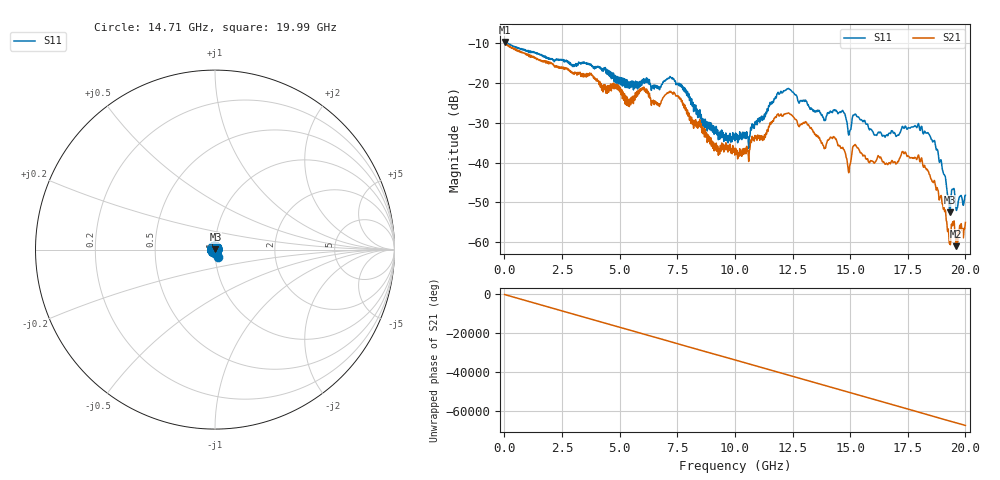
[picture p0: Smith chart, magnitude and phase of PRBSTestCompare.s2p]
! File created by SignalIntegrity v1.4.3: Signal and Power Integrity Tools
! https://github.com/Nubis-Communications/SignalIntegrity
# MHz S MA R 50.0
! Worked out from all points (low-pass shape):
!   2000 points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, 10 MHz to 20 GHz, reference 50 ohm
!   highest |S21| = -9.68 dB at 10 MHz (marker M1); lowest = -61.0 dB at 19.6 GHz (marker M2)
!   |S21| within 3 dB of the highest: start of sweep to 930.8 MHz
!   lowest |S11| = -52.5 dB at 19.32 GHz (marker M3), VSWR 1.00, Z = 50.2 + j0.104 ohm
!   |S11| at or under -10 dB: 145 MHz to end of sweep
!   S12 and S22 are empty: the file has one direction only
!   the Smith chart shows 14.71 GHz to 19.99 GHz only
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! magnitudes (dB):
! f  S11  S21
! 10 MHz  -9.3  -9.7
! 3.35 GHz  -15.0  -17.7
! 5.39 GHz  -19.7  -24.1
! 6.02 GHz  -19.9  -21.6
! 6.68 GHz  -21.2  -25.4
! 7.43 GHz  -19.9  -23.1
! 9.07 GHz  -30.7  -34.9
! 10.01 GHz  -34.1  -37.7
! 10.57 GHz  -33.7  -37.1
! 12.26 GHz  -21.5  -27.6
! 13.34 GHz  -26.6  -31.6
! 13.85 GHz  -28.8  -35.8
! 14.67 GHz  -26.9  -36.2
! 14.94 GHz  -33.1  -42.5
! 15.21 GHz  -27.8  -35.5
! 16.67 GHz  -32.7  -40.1
! 17.33 GHz  -31.3  -37.7
! 18.4 GHz  -32.7  -42.2
! 18.73 GHz  -36.6  -46.8
! 19.32 GHz  -52.5  -60.3
! 19.6 GHz  -51.8  -61.0
! 20 GHz  -48.2  -55.0
